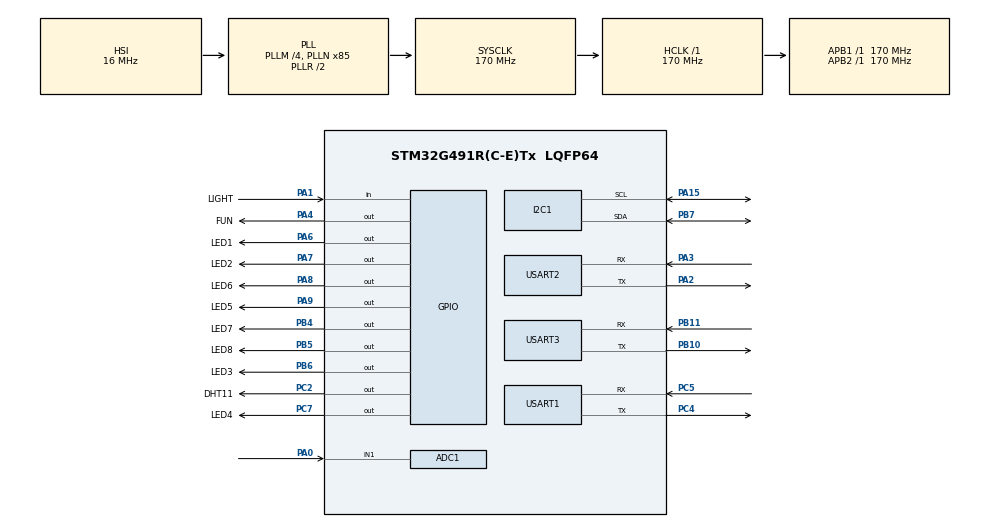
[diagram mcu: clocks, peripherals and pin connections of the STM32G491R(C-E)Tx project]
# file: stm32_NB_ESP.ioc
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ADC1.Channel-2\#ChannelRegularConversion=ADC_CHANNEL_1
ADC1.ContinuousConvMode=DISABLE
ADC1.NbrOfConversionFlag=1
ADC1.OffsetNumber-2\#ChannelRegularConversion=ADC_OFFSET_NONE
ADC1.Rank-2\#ChannelRegularConversion=1
ADC1.SamplingTime-2\#ChannelRegularConversion=ADC_SAMPLETIME_2CYCLES_5
ADC1.master=1
I2C1.Timing=0x30A0A7FB
Mcu.Family=STM32G4
Mcu.Name=STM32G491R(C-E)Tx
Mcu.Package=LQFP64
NVIC.ADC1_2_IRQn=true\:0\:0\:false\:false\:true\:true\:true
NVIC.PriorityGroup=NVIC_PRIORITYGROUP_4
NVIC.TIM1_UP_TIM16_IRQn=true\:0\:0\:false\:false\:true\:true\:true
NVIC.USART1_IRQn=true\:0\:0\:false\:false\:true\:true\:true
NVIC.USART2_IRQn=true\:0\:0\:false\:false\:true\:true\:true
NVIC.USART3_IRQn=true\:0\:0\:false\:false\:true\:true\:true
PA0.Mode=IN1-Single-Ended
PA0.Signal=ADC1_IN1
PA1.GPIO_Label=LIGHT
PA1.Signal=GPIO_Input
PA13.Mode=Serial_Wire
PA13.Signal=SYS_JTMS-SWDIO
PA14.Mode=Serial_Wire
PA14.Signal=SYS_JTCK-SWCLK
PA15.Mode=I2C
PA15.Signal=I2C1_SCL
PA2.Mode=Asynchronous
PA2.Signal=USART2_TX
PA3.Mode=Asynchronous
PA3.Signal=USART2_RX
PA4.GPIO_Label=FUN
PA4.Signal=GPIO_Output
PA6.GPIO_Label=LED1
PA6.Signal=GPIO_Output
PA7.GPIO_Label=LED2
PA7.Signal=GPIO_Output
PA8.GPIO_Label=LED6
PA8.Signal=GPIO_Output
PA9.GPIO_Label=LED5
PA9.Signal=GPIO_Output
PB10.Mode=Asynchronous
PB10.Signal=USART3_TX
PB11.Mode=Asynchronous
PB11.Signal=USART3_RX
PB4.GPIO_Label=LED7
PB4.Signal=GPIO_Output
PB5.GPIO_Label=LED8
PB5.Signal=GPIO_Output
PB6.GPIO_Label=LED3
PB6.Signal=GPIO_Output
PB7.Mode=I2C
PB7.Signal=I2C1_SDA
PC2.GPIO_Label=DHT11
PC2.Signal=GPIO_Output
PC4.Mode=Asynchronous
PC4.Signal=USART1_TX
PC5.Mode=Asynchronous
PC5.Signal=USART1_RX
PC7.GPIO_Label=LED4
PC7.Signal=GPIO_Output
ProjectManager.HeapSize=0x200
ProjectManager.StackSize=0x400
ProjectManager.TargetToolchain=MDK-ARM V5.32
RCC.ADC12Freq_Value=170000000
RCC.ADC345Freq_Value=170000000
RCC.AHBFreq_Value=170000000
RCC.APB1Freq_Value=170000000
RCC.APB1TimFreq_Value=170000000
RCC.APB2Freq_Value=170000000
RCC.APB2TimFreq_Value=170000000
RCC.CortexFreq_Value=170000000
RCC.EXTERNAL_CLOCK_VALUE=12288000
RCC.HCLKFreq_Value=170000000
RCC.HSE_VALUE=8000000
RCC.HSI48_VALUE=48000000
RCC.HSI_VALUE=16000000
RCC.LSE_VALUE=32768
RCC.PLLM=RCC_PLLM_DIV4
RCC.PLLN=85
RCC.SYSCLKFreq_VALUE=170000000
RCC.SYSCLKSource=RCC_SYSCLKSOURCE_PLLCLK
RCC.USBFreq_Value=48000000
RCC.VCOOutputFreq_Value=340000000
TIM1.AutoReloadPreload=TIM_AUTORELOAD_PRELOAD_ENABLE
TIM1.PeriodNoDither=10000
TIM1.Prescaler=17000
USART1.VirtualMode-Asynchronous=VM_ASYNC
USART2.VirtualMode-Asynchronous=VM_ASYNC
USART3.VirtualMode-Asynchronous=VM_ASYNC
VP_SYS_VS_DBSignals.Mode=DisableDeadBatterySignals
VP_TIM1_VS_ClockSourceINT.Mode=Internal
board=custom

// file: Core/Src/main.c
/* USER CODE BEGIN Header */
/**
  ******************************************************************************
  * @file           : main.c
  * @brief          : Main program body
  ******************************************************************************
  * @attention
  *
  * Copyright (c) 2024 STMicroelectronics.
  * All rights reserved.
  *
  * This software is licensed under terms that can be found in the LICENSE file
  * in the root directory of this software component.
  * If no LICENSE file comes with this software, it is provided AS-IS.
  *
  ******************************************************************************
  */
/* USER CODE END Header */
#include "main.h"
#include "adc.h"
#include "i2c.h"
#include "tim.h"
#include "usart.h"
#include "gpio.h"

/* USER CODE BEGIN Includes */
#include "oled.h"
#include "DHT11.h"
#include "Light.h"
#include "LED.h"
/* USER CODE END Includes */

/* USER CODE BEGIN PD */
//串口1配置-串口调试缓存区
int8_t RxBuffer1[RXBUFFERSIZE];
uint8_t Uart1_Rx_Cnt = 0;
uint8_t aRxBuffer1;

//串口2配置-NB-iot缓存区
int8_t RxBuffer2[RXBUFFERSIZE];   //接收数据
uint8_t Uart2_Rx_Cnt = 0;
uint8_t aRxBuffer2;

//串口3配置-ESP8266缓存区
int8_t RxBuffer3[RXBUFFERSIZE];   //接收数据
uint8_t Uart3_Rx_Cnt = 0;
uint8_t aRxBuffer3;

__align(8) uint8_t USART3_TX_BUF[RXBUFFERSIZE]; 	//发送缓冲,最大USART2_MAX_SEND_LEN字节
uint8_t USART3_RX_BUF[RXBUFFERSIZE]; 				//接收缓冲,最大USART2_MAX_RECV_LEN个字节.
uint16_t USART3_RX_STA = 0;

/* USER CODE END PD */

void SystemClock_Config(void);

/* USER CODE BEGIN 0 */
float Humi,Temp;				//温湿度缓存位
int Light_D = 0;				//光敏数字量-0暗-1亮
uint32_t Light_A = 0;	//光敏模拟量
int LED = 0;					//LED状态位 1-8 流水灯 	0熄灭
int LED_state = 0;			//0关闭	1开启
uint16_t time1_num = 0;		//Time1定时
/* USER CODE END 0 */

int main(void)
{

  /* MCU Configuration--------------------------------------------------------*/

  /* Reset of all peripherals, Initializes the Flash interface and the Systick. */
  HAL_Init();

  /* Configure the system clock */
  SystemClock_Config();

  /* Initialize all configured peripherals */
  MX_GPIO_Init();
  MX_USART1_UART_Init();
  MX_USART2_UART_Init();
  MX_USART3_UART_Init();
  MX_I2C1_Init();
  MX_ADC1_Init();
  MX_TIM1_Init();
  /* USER CODE BEGIN 2 */
	HAL_ADCEx_Calibration_Start(&hadc1, ADC_SINGLE_ENDED);    //AD校准
	HAL_TIM_Base_Start_IT(&htim1); // 开启中断
	//串口开启接收中断
	HAL_UART_Receive_IT(&huart1, &aRxBuffer1, 1);
	HAL_UART_Receive_IT(&huart2, &aRxBuffer2, 1);
	HAL_UART_Receive_IT(&huart3, &aRxBuffer3, 1);

//	OLED_Init();                          //OLED初始化
// 	OLED_Clear();                         //先清屏
//	HAL_Delay(1000);
//	OLED_ShowCHinese(25,0,0);  				//在屏幕上方显示“此乃刘同学”
//	OLED_ShowCHinese(41,0,1);
//	OLED_ShowCHinese(57,0,2);
//	OLED_ShowCHinese(73,0,3);
//	OLED_ShowCHinese(89,0,4);
  /* USER CODE END 2 */

  /* Infinite loop */
  /* USER CODE BEGIN WHILE */
  while (1)
  {
//		DHT11_READ_DATA(&Temp,&Humi);				//读取温湿度
//		sprintf(DHT11_TX,"Temp:%0.1f ",Temp);
//		DRead_Light(&Light_D);					//获取光敏的数字量值
//		ARead_Light(&Light_A);					//获取光敏的模拟量值
//		HAL_GPIO_WritePin(FUN_GPIO_Port, FUN_Pin, GPIO_PIN_RESET);			//风扇为低电平
//		HAL_GPIO_WritePin(FUN_GPIO_Port, FUN_Pin, GPIO_PIN_SET);				//风扇为高电平
    /* USER CODE END WHILE */

  }
}

void SystemClock_Config(void)
{
  RCC_OscInitTypeDef RCC_OscInitStruct = {0};
  RCC_ClkInitTypeDef RCC_ClkInitStruct = {0};

  /** Configure the main internal regulator output voltage
  */
  HAL_PWREx_ControlVoltageScaling(PWR_REGULATOR_VOLTAGE_SCALE1_BOOST);
  /** Initializes the RCC Oscillators according to the specified parameters
  * in the RCC_OscInitTypeDef structure.
  */
  RCC_OscInitStruct.OscillatorType = RCC_OSCILLATORTYPE_HSI;
  RCC_OscInitStruct.HSIState = RCC_HSI_ON;
  RCC_OscInitStruct.HSICalibrationValue = RCC_HSICALIBRATION_DEFAULT;
  RCC_OscInitStruct.PLL.PLLState = RCC_PLL_ON;
  RCC_OscInitStruct.PLL.PLLSource = RCC_PLLSOURCE_HSI;
  RCC_OscInitStruct.PLL.PLLM = RCC_PLLM_DIV4;
  RCC_OscInitStruct.PLL.PLLN = 85;
  RCC_OscInitStruct.PLL.PLLP = RCC_PLLP_DIV2;
  RCC_OscInitStruct.PLL.PLLQ = RCC_PLLQ_DIV2;
  RCC_OscInitStruct.PLL.PLLR = RCC_PLLR_DIV2;
  if (HAL_RCC_OscConfig(&RCC_OscInitStruct) != HAL_OK)
  {
    Error_Handler();
  }
  /** Initializes the CPU, AHB and APB buses clocks
  */
  RCC_ClkInitStruct.ClockType = RCC_CLOCKTYPE_HCLK|RCC_CLOCKTYPE_SYSCLK
                              |RCC_CLOCKTYPE_PCLK1|RCC_CLOCKTYPE_PCLK2;
  RCC_ClkInitStruct.SYSCLKSource = RCC_SYSCLKSOURCE_PLLCLK;
  RCC_ClkInitStruct.AHBCLKDivider = RCC_SYSCLK_DIV1;
  RCC_ClkInitStruct.APB1CLKDivider = RCC_HCLK_DIV1;
  RCC_ClkInitStruct.APB2CLKDivider = RCC_HCLK_DIV1;

  if (HAL_RCC_ClockConfig(&RCC_ClkInitStruct, FLASH_LATENCY_4) != HAL_OK)
  {
    Error_Handler();
  }
}

/* USER CODE BEGIN 4 */

void HAL_TIM_PeriodElapsedCallback(TIM_HandleTypeDef *htim){
		if(htim->Instance == TIM1){
        time1_num++;
    }
		LED++;
		if(LED == 9) LED = 0;
}

void HAL_UART_RxCpltCallback(UART_HandleTypeDef *huart)
{

    if (huart->Instance == USART1)
    {
        if (Uart1_Rx_Cnt > RXBUFFERSIZE - 2)  // Overflow check
        {
            Uart1_Rx_Cnt = 0;
            memset(RxBuffer1, 0x00, sizeof(RxBuffer1));
        }
        else
        {
            RxBuffer1[Uart1_Rx_Cnt++] = aRxBuffer1;   // Store received data

             // 检查是否接收到结束符（例如换行符和回车符）
            if ((Uart1_Rx_Cnt > 1) && (RxBuffer1[Uart1_Rx_Cnt - 1] == 0x0A) && (RxBuffer1[Uart1_Rx_Cnt - 2] == 0x0D)) // End of data check
            {
                // 输出接收到的完整数据
                HAL_UART_Transmit(&huart1, (uint8_t *)RxBuffer1, Uart1_Rx_Cnt, HAL_MAX_DELAY);
                Uart1_Rx_Cnt = 0;
                memset(RxBuffer1, 0x00, sizeof(RxBuffer1)); // Clear buffer
            }
        }
        HAL_UART_Receive_IT(&huart1, &aRxBuffer1, 1);
    }
    else if (huart->Instance == USART2)
    {
        //
    }
		else  if (huart->Instance == USART3)
    {
        if (Uart3_Rx_Cnt < RXBUFFERSIZE - 1)
        {
            RxBuffer3[Uart3_Rx_Cnt++] = aRxBuffer3;

            // Check for end of message (newline character)
            if (RxBuffer3[Uart3_Rx_Cnt - 1] == 0x0A)
            {
								const char *start;

								// 提取 Wind 值
								start = strstr((const char *)RxBuffer3, "\"LED\":"); // 转换为 const char *
								if (start) {
										start = strstr(start, "\"value\":");
										if (start) {
												start += strlen("\"value\":");
												LED = strtol(start, (char **)&start, 10);
												//做操作
										}
								}

                // Reset the buffer after processing
                Uart3_Rx_Cnt = 0;
                memset(RxBuffer3, 0x00, sizeof(RxBuffer3));
            }
        }
        HAL_UART_Receive_IT(&huart3, &aRxBuffer3, 1);  // Re-enable interrupt for next byte
    }

}
/* USER CODE END 4 */

void Error_Handler(void)
{
  __disable_irq();
  while (1)
  {
  }
}
